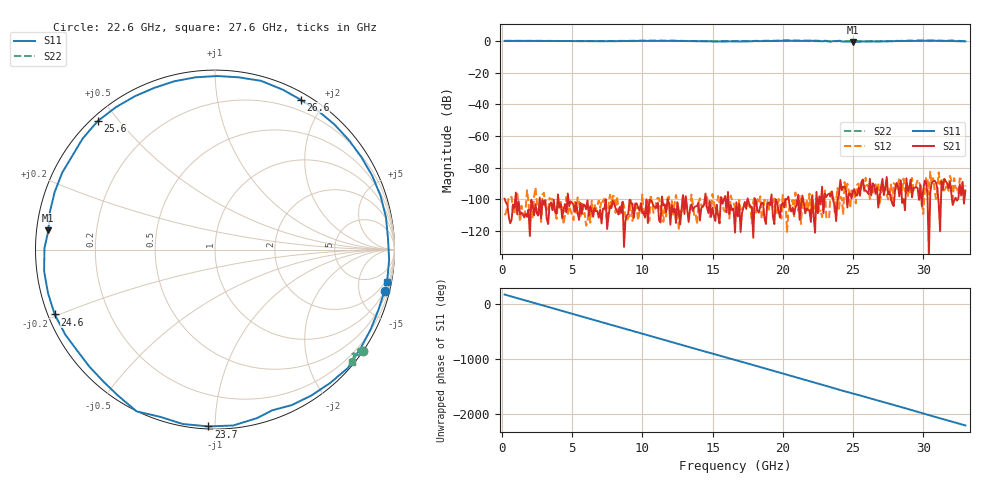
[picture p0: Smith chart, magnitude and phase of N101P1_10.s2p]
# GHZ S RI R 50
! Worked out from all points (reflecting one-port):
!   329 points, 200 MHz to 33 GHz, reference 50 ohm
!   lowest |S11| = -0.6 dB at 25 GHz (marker M1), VSWR 29.55, Z = 1.7 + j2.86 ohm
!   phase of S11 starts at 166 deg and turns -2369 deg over the sweep
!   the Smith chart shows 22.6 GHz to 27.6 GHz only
!   S11 on the Smith chart (normalised r, x): 22.6 GHz: 0.99, -8.25; 23.7 GHz: 0.01, -0.96; 24.6 GHz: 0.02, -0.19; 25.6 GHz: 0.02, +0.44; 26.6 GHz: 0.08, +1.72; 27.6 GHz: 1, -10
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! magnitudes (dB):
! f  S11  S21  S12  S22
! 200 MHz  0.0  -99.7  -110.1  0.0
! 5.7 GHz  -0.2  -109.2  -101.6  -0.1
! 11.2 GHz  0.1  -113.5  -99.6  0.1
! 15 GHz  -0.4  -105.5  -96.7  -0.2
! 16.6 GHz  -0.3  -121.1  -105.1  -0.2
! 20.4 GHz  0.2  -98.4  -108.6  0.2
! 22.1 GHz  0.0  -98.0  -97.3  0.2
! 22.6 GHz  -0.2  -98.2  -107.8  0.0
! 23 GHz  -0.1  -96.5  -94.6  0.1
! 23.4 GHz  -0.4  -98.3  -95.6  -0.3
! 23.7 GHz  -0.1  -104.5  -108.1  -0.1
! 24 GHz  0.0  -97.4  -106.0  0.1
! 24.3 GHz  -0.4  -92.2  -109.8  -0.2
! 24.6 GHz  -0.3  -105.3  -90.2  -0.2
! 25 GHz  -0.6  -94.8  -95.7  -0.3
! 25.6 GHz  -0.3  -89.1  -90.0  -0.3
! 26.6 GHz  -0.3  -96.6  -90.7  -0.2
! 27.6 GHz  -0.2  -95.2  -94.9  -0.1
! 30.4 GHz  0.2  -136.7  -97.0  0.2
! 31.4 GHz  0.0  -94.1  -94.5  0.0
! 32 GHz  -0.1  -96.3  -88.1  0.3
! 33 GHz  -0.3  -94.6  -91.4  -0.2
